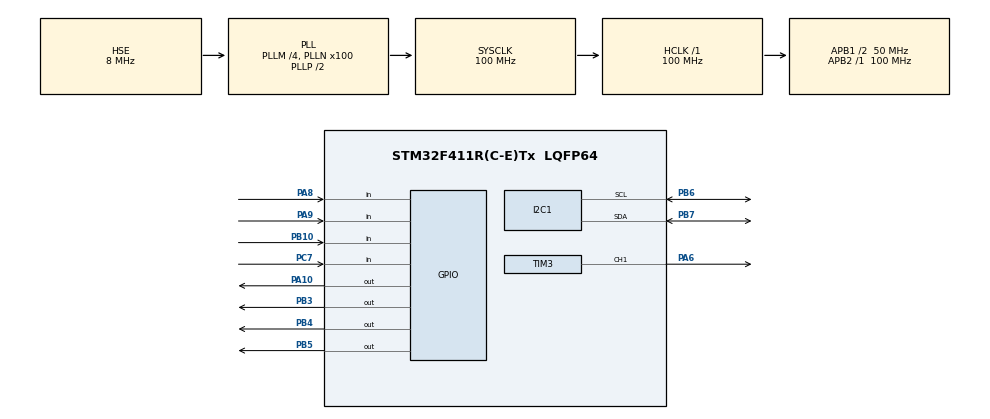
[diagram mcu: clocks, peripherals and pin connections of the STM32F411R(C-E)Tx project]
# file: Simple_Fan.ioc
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Mcu.Family=STM32F4
Mcu.Name=STM32F411R(C-E)Tx
Mcu.Package=LQFP64
NVIC.PriorityGroup=NVIC_PRIORITYGROUP_4
PA10.PinState=GPIO_PIN_RESET
PA10.Signal=GPIO_Output
PA13.Mode=Serial_Wire
PA13.Signal=SYS_JTMS-SWDIO
PA14.Mode=Serial_Wire
PA14.Signal=SYS_JTCK-SWCLK
PA6.Signal=S_TIM3_CH1
PA8.Signal=GPIO_Input
PA9.Signal=GPIO_Input
PB10.Signal=GPIO_Input
PB3.PinState=GPIO_PIN_RESET
PB3.Signal=GPIO_Output
PB4.PinState=GPIO_PIN_RESET
PB4.Signal=GPIO_Output
PB5.PinState=GPIO_PIN_RESET
PB5.Signal=GPIO_Output
PB6.Mode=I2C
PB6.Signal=I2C1_SCL
PB7.Mode=I2C
PB7.Signal=I2C1_SDA
PC7.Signal=GPIO_Input
PH0\ -\ OSC_IN.Mode=HSE-External-Oscillator
PH0\ -\ OSC_IN.Signal=RCC_OSC_IN
PH1\ -\ OSC_OUT.Mode=HSE-External-Oscillator
PH1\ -\ OSC_OUT.Signal=RCC_OSC_OUT
ProjectManager.HeapSize=0x200
ProjectManager.StackSize=0x400
ProjectManager.TargetToolchain=STM32CubeIDE
RCC.48MHZClocksFreq_Value=50000000
RCC.AHBFreq_Value=100000000
RCC.APB1CLKDivider=RCC_HCLK_DIV2
RCC.APB1Freq_Value=50000000
RCC.APB1TimFreq_Value=100000000
RCC.APB2Freq_Value=100000000
RCC.APB2TimFreq_Value=100000000
RCC.CortexFreq_Value=100000000
RCC.HCLKFreq_Value=100000000
RCC.HSE_VALUE=8000000
RCC.HSI_VALUE=16000000
RCC.LSE_VALUE=32768
RCC.PLLM=4
RCC.PLLN=100
RCC.PLLSourceVirtual=RCC_PLLSOURCE_HSE
RCC.SYSCLKFreq_VALUE=100000000
RCC.SYSCLKSource=RCC_SYSCLKSOURCE_PLLCLK
RCC.VCOOutputFreq_Value=200000000
SH.S_TIM3_CH1.0=TIM3_CH1,PWM Generation1 CH1
TIM3.Channel-PWM\ Generation1\ CH1=TIM_CHANNEL_1
TIM3.Period=1000-1
TIM3.Prescaler=1000-1
VP_TIM3_VS_ClockSourceINT.Mode=Internal
board=custom

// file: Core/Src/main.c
/* USER CODE BEGIN Header */
/**
  ******************************************************************************
  * @file           : main.c
  * @brief          : Main program body
  ******************************************************************************
  * @attention
  *
  * Copyright (c) 2023 STMicroelectronics.
  * All rights reserved.
  *
  * This software is licensed under terms that can be found in the LICENSE file
  * in the root directory of this software component.
  * If no LICENSE file comes with this software, it is provided AS-IS.
  *
  ******************************************************************************
  */
/* USER CODE END Header */
#include "main.h"
#include "i2c.h"
#include "tim.h"
#include "gpio.h"

/* USER CODE BEGIN Includes */

#include "I2C_LCD.h"
#include "stdio.h"

/* USER CODE END Includes */

/* USER CODE BEGIN PV */

int row = 0;
int col = 0;

/* USER CODE END PV */

void SystemClock_Config(void);

/* USER CODE BEGIN 0 */
//uint16_t value;

/* USER CODE END 0 */

int main(void)
{
  /* USER CODE BEGIN 1 */
  //Button btnToggle;

  /* USER CODE END 1 */

  /* MCU Configuration--------------------------------------------------------*/

  /* Reset of all peripherals, Initializes the Flash interface and the Systick. */
  HAL_Init();

  /* USER CODE BEGIN Init */
//  Button_Init(&btnToggle, GPIOB, GPIO_PIN_10);
//  Button_Init(&btnToggle, GPIOA, GPIO_PIN_8);
//  Button_Init(&btnToggle, GPIOA, GPIO_PIN_9);
//  Button_Init(&btnToggle, GPIOC, GPIO_PIN_7);

  /* USER CODE END Init */

  /* Configure the system clock */
  SystemClock_Config();

  /* Initialize all configured peripherals */
  MX_GPIO_Init();
  MX_TIM3_Init();
  MX_I2C1_Init();
  /* USER CODE BEGIN 2 */
  //uint8_t state;

  HAL_TIM_PWM_Start(&htim3, TIM_CHANNEL_1);

  lcd_init();
  uint8_t buff[30];

  /* USER CODE END 2 */

  /* Infinite loop */
  while (1)
  {

    /* USER CODE BEGIN 3 */

    if(!(HAL_GPIO_ReadPin(GPIOB, GPIO_PIN_10))) //stop / light off
    {
      HAL_GPIO_TogglePin(GPIOA, GPIO_PIN_10);
      HAL_Delay(50);
      HAL_GPIO_TogglePin(GPIOA, GPIO_PIN_10);

      sprintf(buff, "    STOP    ");
      lcd_put_cur(1,0);
      lcd_send_string(buff);

      TIM3 -> CCR1 = 0;

      HAL_GPIO_WritePin(GPIOB, GPIO_PIN_3, RESET);
      HAL_GPIO_WritePin(GPIOB, GPIO_PIN_5, RESET);
      HAL_GPIO_WritePin(GPIOB, GPIO_PIN_4, RESET);
    }

    if(!(HAL_GPIO_ReadPin(GPIOA, GPIO_PIN_8)))  //speed 1
    {
      HAL_GPIO_WritePin(GPIOB, GPIO_PIN_3, SET);

      sprintf(buff, "  SPEED 1  ");
      lcd_put_cur(1,0);
      lcd_send_string(buff);

      TIM3 -> CCR1 = 300;
      HAL_Delay(5);

      HAL_GPIO_WritePin(GPIOB, GPIO_PIN_5, RESET);
      HAL_GPIO_WritePin(GPIOB, GPIO_PIN_4, RESET);
    }

    if(!(HAL_GPIO_ReadPin(GPIOA, GPIO_PIN_9)))  //speed 2
    {
      HAL_GPIO_WritePin(GPIOB, GPIO_PIN_5, SET);

      sprintf(buff, "  SPEED 2  ");
      lcd_put_cur(1,0);
      lcd_send_string(buff);

      TIM3 -> CCR1 = 700;
      HAL_Delay(5);

      HAL_GPIO_WritePin(GPIOB, GPIO_PIN_3, RESET);
      HAL_GPIO_WritePin(GPIOB, GPIO_PIN_4, RESET);
    }

    if(!(HAL_GPIO_ReadPin(GPIOC, GPIO_PIN_7))) //speed 3
    {
      HAL_GPIO_WritePin(GPIOB, GPIO_PIN_4, SET);

      sprintf(buff, "  SPEED 3  ");
      lcd_put_cur(1,0);
      lcd_send_string(buff);

      TIM3 -> CCR1 = 900;
      HAL_Delay(5);

      HAL_GPIO_WritePin(GPIOB, GPIO_PIN_3, RESET);
      HAL_GPIO_WritePin(GPIOB, GPIO_PIN_5, RESET);
    }

  }
  /* USER CODE END 3 */
}

void SystemClock_Config(void)
{
  RCC_OscInitTypeDef RCC_OscInitStruct = {0};
  RCC_ClkInitTypeDef RCC_ClkInitStruct = {0};

  /** Configure the main internal regulator output voltage
  */
  __HAL_RCC_PWR_CLK_ENABLE();
  __HAL_PWR_VOLTAGESCALING_CONFIG(PWR_REGULATOR_VOLTAGE_SCALE1);

  /** Initializes the RCC Oscillators according to the specified parameters
  * in the RCC_OscInitTypeDef structure.
  */
  RCC_OscInitStruct.OscillatorType = RCC_OSCILLATORTYPE_HSE;
  RCC_OscInitStruct.HSEState = RCC_HSE_ON;
  RCC_OscInitStruct.PLL.PLLState = RCC_PLL_ON;
  RCC_OscInitStruct.PLL.PLLSource = RCC_PLLSOURCE_HSE;
  RCC_OscInitStruct.PLL.PLLM = 4;
  RCC_OscInitStruct.PLL.PLLN = 100;
  RCC_OscInitStruct.PLL.PLLP = RCC_PLLP_DIV2;
  RCC_OscInitStruct.PLL.PLLQ = 4;
  if (HAL_RCC_OscConfig(&RCC_OscInitStruct) != HAL_OK)
  {
    Error_Handler();
  }

  /** Initializes the CPU, AHB and APB buses clocks
  */
  RCC_ClkInitStruct.ClockType = RCC_CLOCKTYPE_HCLK|RCC_CLOCKTYPE_SYSCLK
                              |RCC_CLOCKTYPE_PCLK1|RCC_CLOCKTYPE_PCLK2;
  RCC_ClkInitStruct.SYSCLKSource = RCC_SYSCLKSOURCE_PLLCLK;
  RCC_ClkInitStruct.AHBCLKDivider = RCC_SYSCLK_DIV1;
  RCC_ClkInitStruct.APB1CLKDivider = RCC_HCLK_DIV2;
  RCC_ClkInitStruct.APB2CLKDivider = RCC_HCLK_DIV1;

  if (HAL_RCC_ClockConfig(&RCC_ClkInitStruct, FLASH_LATENCY_3) != HAL_OK)
  {
    Error_Handler();
  }
}

void Error_Handler(void)
{
  __disable_irq();
  while (1)
  {
  }
}
